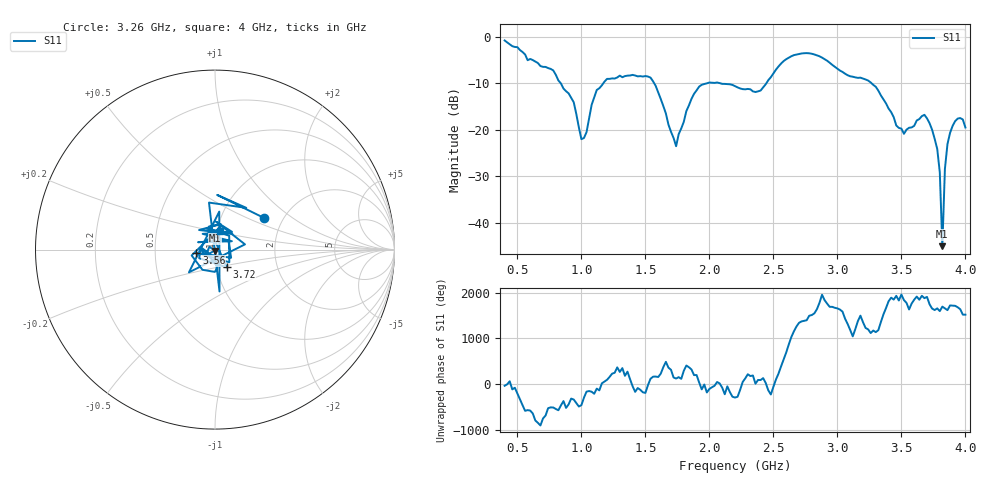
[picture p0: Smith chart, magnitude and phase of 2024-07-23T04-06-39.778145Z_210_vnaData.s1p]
!Created with skrf (http://scikit-rf.org).
# Hz S RI R 50.0
!freq ReS11 ImS11
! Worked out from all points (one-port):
!   181 points, 400 MHz to 4 GHz, reference 50 ohm
!   lowest |S11| = -45.0 dB at 3.82 GHz (marker M1), VSWR 1.01, Z = 49.8 - j0.534 ohm
!   |S11| at or under -10 dB: 1.569 GHz to 1.978 GHz (409.1 MHz wide, 23.1 % of centre); 2.088 GHz to 2.444 GHz (356.5 MHz wide, 15.7 % of centre); 3.268 GHz to end of sweep (the widest 3 of 4)
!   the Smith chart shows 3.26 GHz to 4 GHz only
!   S11 on the Smith chart (normalised r, x): 3.26 GHz: 1.59, +0.63; 3.56 GHz: 0.81, -0.03; 3.72 GHz: 1.11, -0.22; 4 GHz: 1.03, +0.21
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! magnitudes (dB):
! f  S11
! 400 MHz  -0.8
! 780 MHz  -7.2
! 860 MHz  -11.1
! 940 MHz  -14.0
! 1 GHz  -22.0
! 1.04 GHz  -20.5
! 1.12 GHz  -11.4
! 1.3 GHz  -8.3
! 1.54 GHz  -8.8
! 1.74 GHz  -23.5
! 1.76 GHz  -20.9
! 1.92 GHz  -10.7
! 2.2 GHz  -10.6
! 2.4 GHz  -11.5
! 2.66 GHz  -3.9
! 3.1 GHz  -8.5
! 3.26 GHz  -9.8
! 3.46 GHz  -19.0
! 3.56 GHz  -19.5
! 3.68 GHz  -16.8
! 3.72 GHz  -18.6
! 3.78 GHz  -24.1
! 3.8 GHz  -29.1
! 3.82 GHz  -45.0
! 3.84 GHz  -28.4
! 3.86 GHz  -23.0
! 3.94 GHz  -17.6
! 4 GHz  -19.5
